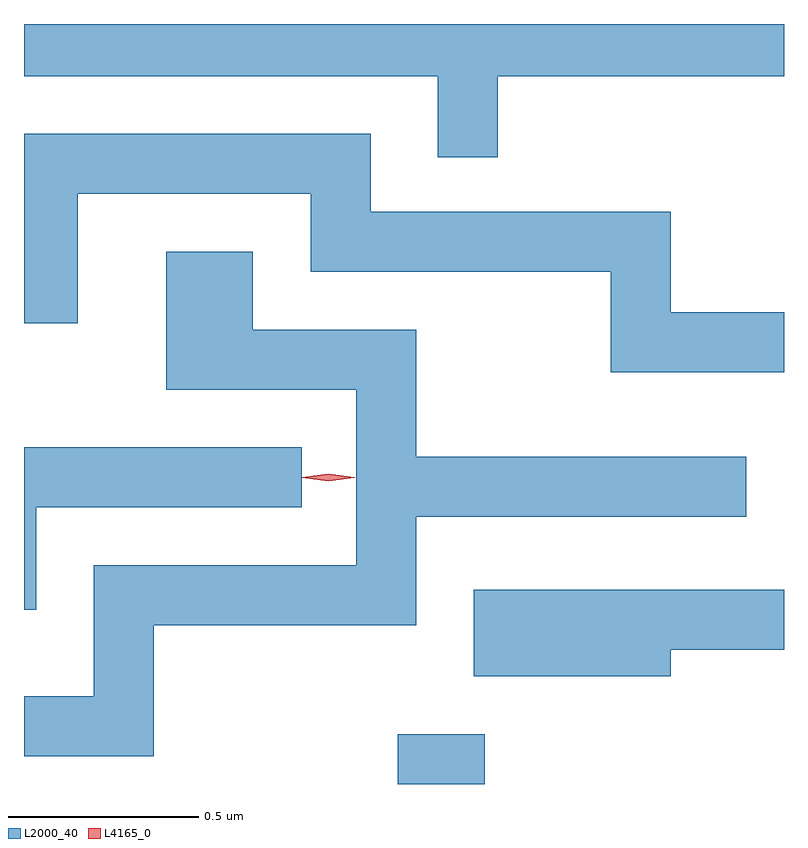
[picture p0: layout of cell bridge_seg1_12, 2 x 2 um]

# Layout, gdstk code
import gdstk
lib = gdstk.Library(unit=1e-6, precision=1e-09)
def R(c, l, rs):  # rectangles x0, y0, x1, y1
    for r in rs: c.add(gdstk.rectangle(r[:2], r[2:], *l))
def P(c, l, *ps):  # polygons
    for p in ps: c.add(gdstk.Polygon(p, *l))
L2000_40 = (2000, 40)
L4165_0 = (4165, 0)

bridge_seg1_12 = lib.new_cell('bridge_seg1_12')
R(bridge_seg1_12, L2000_40, [(1632.811,953.213,1633.039,953.344)])
P(bridge_seg1_12, L2000_40, [(1633.074,955.076),(1633.827,955.076),(1633.827,955.213),(1631.827,955.213),(1631.827,955.076),(1632.916,955.076),(1632.916,954.863),(1633.074,954.863)],
  [(1633.827,954.454),(1633.529,954.454),(1633.529,954.719),(1632.739,954.719),(1632.739,954.924),(1631.827,954.924),(1631.827,954.426),(1631.969,954.426),(1631.969,954.766),(1632.581,954.766),(1632.581,954.561),(1633.371,954.561),(1633.371,954.296),(1633.827,954.296)],
  [(1632.169,953.631),(1632.859,953.631),(1632.859,953.916),(1633.728,953.916),(1633.728,954.074),(1632.859,954.074),(1632.859,954.409),(1632.429,954.409),(1632.429,954.614),(1632.201,954.614),(1632.201,954.251),(1632.701,954.251),(1632.701,953.789),(1632.011,953.789),(1632.011,953.444),(1631.827,953.444),(1631.827,953.286),(1632.169,953.286)],
  [(1631.859,953.941),(1632.558,953.941),(1632.558,954.099),(1631.827,954.099),(1631.827,953.671),(1631.859,953.671)],
  [(1633.529,953.566),(1633.827,953.566),(1633.827,953.724),(1633.011,953.724),(1633.011,953.496),(1633.529,953.496)])
P(bridge_seg1_12, L4165_0, [(1632.628,954.01),(1632.559,954.019),(1632.559,954.02),(1632.559,954.02),(1632.628,954.03),(1632.698,954.02),(1632.698,954.02),(1632.698,954.019)])

lib.write_gds('bridge_seg1_12.gds')
